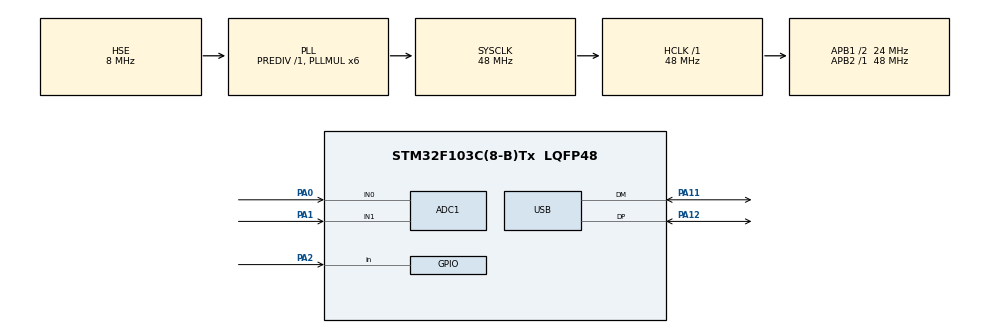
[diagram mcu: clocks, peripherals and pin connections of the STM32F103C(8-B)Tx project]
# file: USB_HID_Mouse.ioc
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ADC1.Channel-0\#ChannelRegularConversion=ADC_CHANNEL_0
ADC1.Channel-1\#ChannelRegularConversion=ADC_CHANNEL_1
ADC1.ContinuousConvMode=ENABLE
ADC1.NbrOfConversion=2
ADC1.NbrOfConversionFlag=1
ADC1.Rank-1\#ChannelRegularConversion=2
ADC1.SamplingTime-0\#ChannelRegularConversion=ADC_SAMPLETIME_239CYCLES_5
ADC1.SamplingTime-1\#ChannelRegularConversion=ADC_SAMPLETIME_239CYCLES_5
ADC1.master=1
Dma.ADC1.0.Direction=DMA_PERIPH_TO_MEMORY
Dma.ADC1.0.Instance=DMA1_Channel1
Dma.ADC1.0.MemDataAlignment=DMA_MDATAALIGN_HALFWORD
Dma.ADC1.0.MemInc=DMA_MINC_ENABLE
Dma.ADC1.0.Mode=DMA_CIRCULAR
Dma.ADC1.0.PeriphDataAlignment=DMA_PDATAALIGN_HALFWORD
Dma.ADC1.0.PeriphInc=DMA_PINC_DISABLE
Dma.ADC1.0.Priority=DMA_PRIORITY_LOW
Dma.Request0=ADC1
Mcu.Family=STM32F1
Mcu.Name=STM32F103C(8-B)Tx
Mcu.Package=LQFP48
NVIC.DMA1_Channel1_IRQn=true\:0\:0\:false\:false\:true\:false\:true\:true
NVIC.PriorityGroup=NVIC_PRIORITYGROUP_4
NVIC.USB_LP_CAN1_RX0_IRQn=true\:0\:0\:false\:false\:true\:false\:true\:true
PA0-WKUP.Signal=ADCx_IN0
PA1.Signal=ADCx_IN1
PA11.Mode=Device
PA11.Signal=USB_DM
PA12.Mode=Device
PA12.Signal=USB_DP
PA13.Mode=Serial_Wire
PA13.Signal=SYS_JTMS-SWDIO
PA14.Mode=Serial_Wire
PA14.Signal=SYS_JTCK-SWCLK
PA2.GPIO_PuPd=GPIO_PULLUP
PA2.Signal=GPIO_Input
PD0-OSC_IN.Mode=HSE-External-Oscillator
PD0-OSC_IN.Signal=RCC_OSC_IN
PD1-OSC_OUT.Mode=HSE-External-Oscillator
PD1-OSC_OUT.Signal=RCC_OSC_OUT
ProjectManager.HeapSize=0x200
ProjectManager.StackSize=0x400
ProjectManager.TargetToolchain=STM32CubeIDE
RCC.ADCPresc=RCC_ADCPCLK2_DIV4
RCC.AHBFreq_Value=48000000
RCC.APB1CLKDivider=RCC_HCLK_DIV2
RCC.APB1Freq_Value=24000000
RCC.APB1TimFreq_Value=48000000
RCC.APB2Freq_Value=48000000
RCC.APB2TimFreq_Value=48000000
RCC.HCLKFreq_Value=48000000
RCC.PLLMUL=RCC_PLL_MUL6
RCC.SYSCLKFreq_VALUE=48000000
RCC.SYSCLKSource=RCC_SYSCLKSOURCE_PLLCLK
RCC.USBFreq_Value=48000000
SH.ADCx_IN0.0=ADC1_IN0,IN0
SH.ADCx_IN1.0=ADC1_IN1,IN1
USB_DEVICE.CLASS_NAME_FS=HID
USB_DEVICE.VirtualMode=Hid
USB_DEVICE.VirtualModeFS=Hid_FS
VP_USB_DEVICE_VS_USB_DEVICE_HID_FS.Mode=HID_FS
board=custom

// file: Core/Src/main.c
/* USER CODE BEGIN Header */
/**
  ******************************************************************************
  * @file           : main.c
  * @brief          : Main program body
  ******************************************************************************
  * @attention
  *
  * Copyright (c) 2026 STMicroelectronics.
  * All rights reserved.
  *
  * This software is licensed under terms that can be found in the LICENSE file
  * in the root directory of this software component.
  * If no LICENSE file comes with this software, it is provided AS-IS.
  *
  ******************************************************************************
  */
/* USER CODE END Header */
#include "main.h"
#include "usb_device.h"

/* USER CODE BEGIN Includes */
#include "usbd_hid.h"

/* USER CODE END Includes */

/* USER CODE BEGIN PM */

int8_t mouse_report[5];
uint16_t ADC_val[2];

/* USER CODE END PM */

ADC_HandleTypeDef hadc1;
DMA_HandleTypeDef hdma_adc1;

void SystemClock_Config(void);
static void MX_GPIO_Init(void);
static void MX_DMA_Init(void);
static void MX_ADC1_Init(void);
/* USER CODE BEGIN PFP */
extern USBD_HandleTypeDef hUsbDeviceFS;

/* USER CODE END PFP */

/* USER CODE BEGIN 0 */

long map(long x, long in_min, long in_max,
         long out_min, long out_max)
{
    long value;

    value = (x - in_min) * (out_max - out_min)
            / (in_max - in_min)
            + out_min;

    return value;
}

void Mouse_GetAction(void)
{
    static uint8_t button = 0;
    int8_t XPos = 0;
    int8_t YPos = 0;

    /* Đọc nút chuột */
    if (HAL_GPIO_ReadPin(Left_button_GPIO_Port, Left_button_Pin) == 0)
    {
        button = 1;
    }
    else
    {
        button = 0;
    }

    /* Chuyển ADC 0 -> 4095 thành -127 -> +127 */
    XPos = (int8_t)map(ADC_val[0], 0, 4095, -127, 127);
    YPos = (int8_t)map(ADC_val[1], 0, 4095, -127, 127);

    /* Tạo HID report */
    mouse_report[0] = button;
    mouse_report[1] = XPos;
    mouse_report[2] = YPos;
    mouse_report[3] = 0;      // Wheel
    mouse_report[4] = 0;      // Byte 5

}

/* USER CODE END 0 */

int main(void)
{

  /* MCU Configuration--------------------------------------------------------*/

  /* Reset of all peripherals, Initializes the Flash interface and the Systick. */
  HAL_Init();

  /* Configure the system clock */
  SystemClock_Config();

  /* Initialize all configured peripherals */
  MX_GPIO_Init();
  MX_DMA_Init();
  MX_ADC1_Init();
  MX_USB_DEVICE_Init();
  /* USER CODE BEGIN 2 */
  HAL_ADC_Start_DMA(&hadc1, (uint32_t *)ADC_val, 2);
  /* USER CODE END 2 */

  /* Infinite loop */
  while (1)
  {

    /* USER CODE BEGIN 3 */
	Mouse_GetAction();
	USBD_HID_SendReport(&hUsbDeviceFS, (uint8_t *)mouse_report,5);
  }
  /* USER CODE END 3 */
}

void SystemClock_Config(void)
{
  RCC_OscInitTypeDef RCC_OscInitStruct = {0};
  RCC_ClkInitTypeDef RCC_ClkInitStruct = {0};
  RCC_PeriphCLKInitTypeDef PeriphClkInit = {0};

  /** Initializes the RCC Oscillators according to the specified parameters
  * in the RCC_OscInitTypeDef structure.
  */
  RCC_OscInitStruct.OscillatorType = RCC_OSCILLATORTYPE_HSE;
  RCC_OscInitStruct.HSEState = RCC_HSE_ON;
  RCC_OscInitStruct.HSEPredivValue = RCC_HSE_PREDIV_DIV1;
  RCC_OscInitStruct.HSIState = RCC_HSI_ON;
  RCC_OscInitStruct.PLL.PLLState = RCC_PLL_ON;
  RCC_OscInitStruct.PLL.PLLSource = RCC_PLLSOURCE_HSE;
  RCC_OscInitStruct.PLL.PLLMUL = RCC_PLL_MUL6;
  if (HAL_RCC_OscConfig(&RCC_OscInitStruct) != HAL_OK)
  {
    Error_Handler();
  }

  /** Initializes the CPU, AHB and APB buses clocks
  */
  RCC_ClkInitStruct.ClockType = RCC_CLOCKTYPE_HCLK|RCC_CLOCKTYPE_SYSCLK
                              |RCC_CLOCKTYPE_PCLK1|RCC_CLOCKTYPE_PCLK2;
  RCC_ClkInitStruct.SYSCLKSource = RCC_SYSCLKSOURCE_PLLCLK;
  RCC_ClkInitStruct.AHBCLKDivider = RCC_SYSCLK_DIV1;
  RCC_ClkInitStruct.APB1CLKDivider = RCC_HCLK_DIV2;
  RCC_ClkInitStruct.APB2CLKDivider = RCC_HCLK_DIV1;

  if (HAL_RCC_ClockConfig(&RCC_ClkInitStruct, FLASH_LATENCY_1) != HAL_OK)
  {
    Error_Handler();
  }
  PeriphClkInit.PeriphClockSelection = RCC_PERIPHCLK_ADC|RCC_PERIPHCLK_USB;
  PeriphClkInit.AdcClockSelection = RCC_ADCPCLK2_DIV4;
  PeriphClkInit.UsbClockSelection = RCC_USBCLKSOURCE_PLL;
  if (HAL_RCCEx_PeriphCLKConfig(&PeriphClkInit) != HAL_OK)
  {
    Error_Handler();
  }
}

static void MX_ADC1_Init(void)
{

  ADC_ChannelConfTypeDef sConfig = {0};

  /** Common config
  */
  hadc1.Instance = ADC1;
  hadc1.Init.ScanConvMode = ADC_SCAN_ENABLE;
  hadc1.Init.ContinuousConvMode = ENABLE;
  hadc1.Init.DiscontinuousConvMode = DISABLE;
  hadc1.Init.ExternalTrigConv = ADC_SOFTWARE_START;
  hadc1.Init.DataAlign = ADC_DATAALIGN_RIGHT;
  hadc1.Init.NbrOfConversion = 2;
  if (HAL_ADC_Init(&hadc1) != HAL_OK)
  {
    Error_Handler();
  }

  /** Configure Regular Channel
  */
  sConfig.Channel = ADC_CHANNEL_0;
  sConfig.Rank = ADC_REGULAR_RANK_1;
  sConfig.SamplingTime = ADC_SAMPLETIME_239CYCLES_5;
  if (HAL_ADC_ConfigChannel(&hadc1, &sConfig) != HAL_OK)
  {
    Error_Handler();
  }

  /** Configure Regular Channel
  */
  sConfig.Channel = ADC_CHANNEL_1;
  sConfig.Rank = ADC_REGULAR_RANK_2;
  if (HAL_ADC_ConfigChannel(&hadc1, &sConfig) != HAL_OK)
  {
    Error_Handler();
  }

}

static void MX_DMA_Init(void)
{

  /* DMA controller clock enable */
  __HAL_RCC_DMA1_CLK_ENABLE();

  /* DMA interrupt init */
  /* DMA1_Channel1_IRQn interrupt configuration */
  HAL_NVIC_SetPriority(DMA1_Channel1_IRQn, 0, 0);
  HAL_NVIC_EnableIRQ(DMA1_Channel1_IRQn);

}

static void MX_GPIO_Init(void)
{
  GPIO_InitTypeDef GPIO_InitStruct = {0};

  /* GPIO Ports Clock Enable */
  __HAL_RCC_GPIOD_CLK_ENABLE();
  __HAL_RCC_GPIOA_CLK_ENABLE();

  /*Configure GPIO pin : PA2 */
  GPIO_InitStruct.Pin = GPIO_PIN_2;
  GPIO_InitStruct.Mode = GPIO_MODE_INPUT;
  GPIO_InitStruct.Pull = GPIO_PULLUP;
  HAL_GPIO_Init(GPIOA, &GPIO_InitStruct);

}

void Error_Handler(void)
{
  __disable_irq();
  while (1)
  {
  }
}
